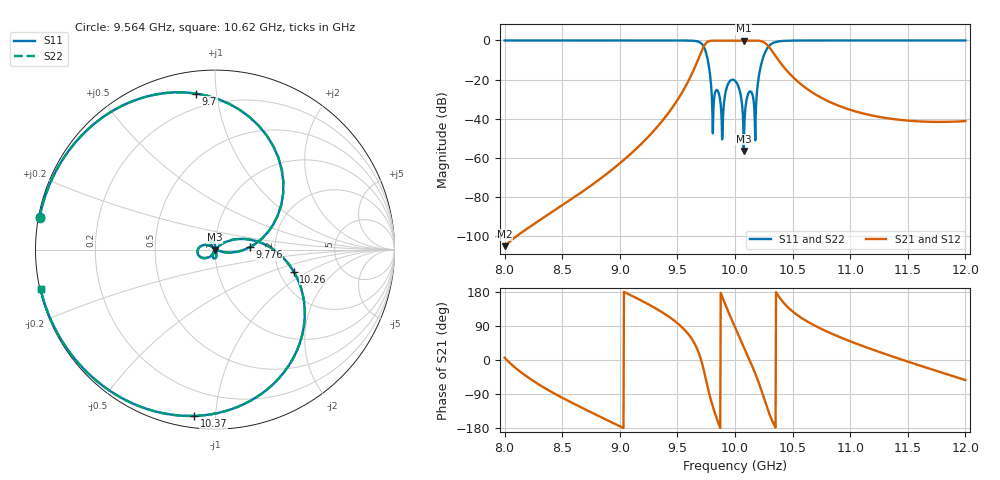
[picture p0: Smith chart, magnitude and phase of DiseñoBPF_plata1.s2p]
! TOUCHSTONE file generated by CST MICROWAVE STUDIO
! Date and time: Sat Oct  4 19:50:42 2025
! Project name: DiseñoBPF_conPerdidas_plata.cst
! Parameters = {L=20; Lc1=18.773; Lc2=21.2156; Ltot=127.477; a=19.05; b=9.525; t=1.5; w1=11.9246; w2=8.70252; w3=8.01241}
! Header version: 2024
! Port assignment regex: !\s*Touchstone port\s*([0-9]+)\s*=\s*(CST MWS port|CST DES external port|CST DES block port)\s*(.+)\s* \(\"(.*)\"\)(\s*mode\s*([0-9]+))?.*
! Touchstone port assignment:
! Touchstone port 1 = CST MWS port 1 ("")
! Touchstone port 2 = CST MWS port 2 ("")
! S-Parameters are not renormalized. Unphysical impedance of 610.369 will be written to the file.
# GHz S MA R 610.369
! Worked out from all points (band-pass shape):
!   1001 points, 8 GHz to 12 GHz, reference per port
!   highest |S21| = -0.07 dB at 10.08 GHz (marker M1); lowest = -105.3 dB at 8 GHz (marker M2)
!   |S21| within 3 dB of the highest: 9.729 GHz to 10.29 GHz (562 MHz wide, 5.61 % of centre)
!   lowest |S11| = -56.5 dB at 10.08 GHz (marker M3), VSWR 1.00
!   |S11| at or under -10 dB: 9.764 GHz to 10.24 GHz (474 MHz wide, 4.74 % of centre)
!   |S22| runs from -56.6 to 0.0 dB; largest |S21 - S12| = 7.3e-05
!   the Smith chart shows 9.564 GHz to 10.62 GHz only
!   S11 on the Smith chart (normalised r, x): 9.564 GHz: 0.00, +0.09; 9.7 GHz: 0.12, +0.88; 9.776 GHz: 1.48, +0.04; 10.26 GHz: 2.40, -0.74; 10.37 GHz: 0.06, -0.88; 10.62 GHz: 0.00, -0.11
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8  0.9967 96.4  5.44e-06 6.1  5.44e-06 6.1  0.9967 96.4
8.308  0.9979 24.4  2.557e-05 -66.6  2.573e-05 -65.7  0.9979 24.4
8.668  0.9983 -35.3  0.0001306 -125.6  0.0001311 -125.5  0.9983 -35.3
9.016  0.9982 -86.8  0.0007853 -177.2  0.0007863 -177.1  0.9982 -86.8
9.336  0.9976 -137.8  0.006685 131.8  0.006685 131.8  0.9976 -137.8
9.564  0.9937 169.6  0.06147 79.0  0.06147 79.0  0.9937 169.7
9.7  0.8756 96.8  0.4546 5.9  0.4546 5.9  0.8756 96.9
9.74  0.5807 50.2  0.7911 -41.1  0.7912 -41.1  0.5807 50.2
9.776  0.194 3.9  0.964 -88.4  0.9641 -88.4  0.1939 3.6
9.808  0.00421 89.1  0.9866 -123.5  0.9866 -123.5  0.002962 106.4
9.848  0.05257 109.6  0.9873 -159.8  0.9873 -159.8  0.05256 111.7
9.872  0.0284 90.8  0.9889 -179.6  0.9889 -179.6  0.02845 94.7
10  0.09306 177.1  0.9869 86.6  0.9869 86.6  0.09307 176.6
10.076  0.001496 173.9  0.9915 34.6  0.9915 34.6  0.001486 173.8
10.128  0.04937 -91.3  0.9903 -1.3  0.9903 -1.3  0.04937 -91.9
10.176  0.002786 4.0  0.991 -36.0  0.991 -36.0  0.002195 18.7
10.256  0.4554 -15.6  0.8783 -104.8  0.8783 -104.8  0.4553 -15.5
10.368  0.9337 -97.1  0.3428 173.3  0.3428 173.3  0.9337 -97.1
10.62  0.9964 -167.2  0.05913 103.0  0.05913 103.0  0.9964 -167.1
10.668  0.9972 -175.4  0.04731 94.7  0.04731 94.7  0.9972 -175.4
11.336  0.9988 102.5  0.01008 12.4  0.01008 12.4  0.9988 102.5
12  0.9989 37.1  0.008639 -53.0  0.008639 -53.0  0.9989 37.1
